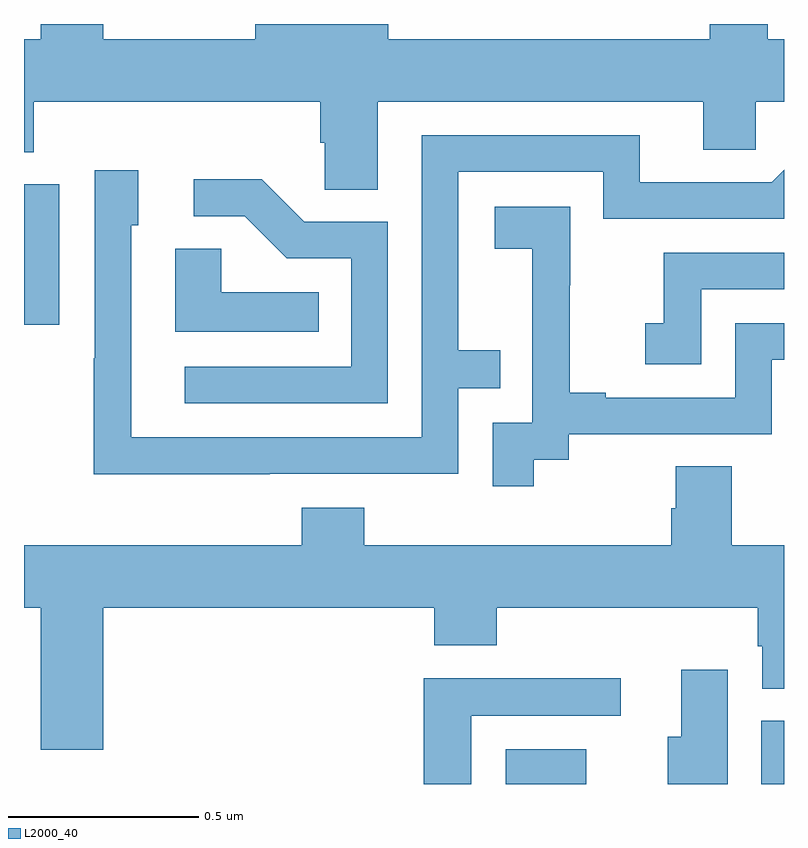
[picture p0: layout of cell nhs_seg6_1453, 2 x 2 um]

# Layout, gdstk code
import gdstk
lib = gdstk.Library(unit=1e-6, precision=1e-09)
def R(c, l, rs):  # rectangles x0, y0, x1, y1
    for r in rs: c.add(gdstk.rectangle(r[:2], r[2:], *l))
def P(c, l, *ps):  # polygons
    for p in ps: c.add(gdstk.Polygon(p, *l))
L2000_40 = (2000, 40)

nhs_seg6_1453 = lib.new_cell('nhs_seg6_1453')
R(nhs_seg6_1453, L2000_40, [(130.268,985.5,130.48,985.591), (130.94,985.5,131,985.666), (129,986.709,129.093,987.078)])
P(nhs_seg6_1453, L2000_40, [(129.931,987.296),(130.787,987.296),(130.787,987.169),(130.926,987.169),(130.926,987.296),(131,987.296),(131,987.46),(130.957,987.46),(130.957,987.5),(130.805,987.5),(130.805,987.46),(129.958,987.46),(129.958,987.5),(129.608,987.5),(129.608,987.46),(129.208,987.46),(129.208,987.5),(129.044,987.5),(129.044,987.46),(129,987.46),(129,987.163),(129.026,987.163),(129.026,987.296),(129.779,987.296),(129.779,987.187),(129.792,987.187),(129.792,987.064),(129.931,987.064)],
  [(129.647,986.316),(130.143,986.316),(130.143,986.541),(130.253,986.541),(130.253,986.642),(130.143,986.642),(130.143,987.111),(130.524,987.111),(130.524,986.988),(131,986.988),(131,987.116),(130.968,987.084),(130.621,987.084),(130.621,987.207),(130.047,987.207),(130.047,986.412),(129.282,986.412),(129.282,986.97),(129.301,986.97),(129.301,987.115),(129.186,987.115),(129.186,986.621),(129.184,986.621),(129.184,986.315),(129.647,986.315)],
  [(129.957,986.979),(129.738,986.979),(129.625,987.092),(129.447,987.092),(129.447,986.994),(129.581,986.994),(129.692,986.883),(129.861,986.883),(129.861,986.598),(129.423,986.598),(129.423,986.502),(129.957,986.502)],
  [(130.342,986.353),(130.434,986.353),(130.434,986.421),(130.968,986.421),(130.968,986.616),(131,986.616),(131,986.712),(130.872,986.712),(130.872,986.517),(130.531,986.517),(130.531,986.53),(130.436,986.53),(130.436,986.813),(130.437,986.813),(130.437,987.019),(130.239,987.019),(130.239,986.909),(130.337,986.909),(130.337,986.681),(130.338,986.681),(130.338,986.451),(130.233,986.451),(130.233,986.283),(130.342,986.283)],
  [(129.776,986.794),(129.519,986.794),(129.519,986.909),(129.398,986.909),(129.398,986.69),(129.776,986.69)],
  [(130.782,986.802),(131,986.802),(131,986.898),(130.684,986.898),(130.684,986.713),(130.635,986.713),(130.635,986.604),(130.782,986.604)],
  [(129.208,985.964),(130.079,985.964),(130.079,985.865),(130.244,985.865),(130.244,985.964),(130.931,985.964),(130.931,985.863),(130.943,985.863),(130.943,985.751),(131,985.751),(131,986.128),(130.863,986.128),(130.863,986.336),(130.715,986.336),(130.715,986.226),(130.703,986.226),(130.703,986.128),(129.896,986.128),(129.896,986.227),(129.731,986.227),(129.731,986.128),(129,986.128),(129,985.964),(129.044,985.964),(129.044,985.59),(129.208,985.59)],
  [(130.852,985.801),(130.73,985.801),(130.73,985.624),(130.694,985.624),(130.694,985.5),(130.852,985.5)],
  [(130.177,985.68),(130.57,985.68),(130.57,985.778),(130.052,985.778),(130.052,985.5),(130.177,985.5)])

lib.write_gds('nhs_seg6_1453.gds')
